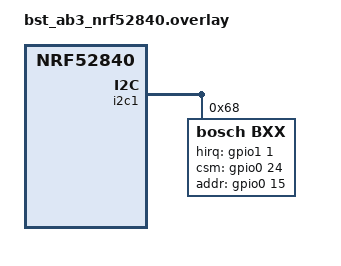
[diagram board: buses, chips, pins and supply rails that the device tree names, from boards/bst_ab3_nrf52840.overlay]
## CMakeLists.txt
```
#
# Copyright (c) 2022 Bosch Sensortec GmbH
#
# SPDX-License-Identifier: Apache-2.0
#

cmake_minimum_required(VERSION 3.20.0)
find_package(Zephyr HINTS $ENV{ZEPHYR_BASE})
project(bxx_sample)

FILE(GLOB app_sources src/*.c)
target_sources(app PRIVATE ${app_sources})
```

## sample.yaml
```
sample:
  name: BXX Sensor sample
tests:
  sample.sensor.bxx:
    harness: sensor
    tags: samples sensor
```

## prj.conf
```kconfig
#SPI or I2C are required by BXX driver
#TIP: If BXX driver uses I2C or SPI exclusively,
#the other module can be removed
CONFIG_GPIO=y
CONFIG_SPI=y
CONFIG_I2C=y
#enable the Sensor API for BXX driver (and any others activated in the DTS)
CONFIG_SENSOR=y

# Config USB UART console
CONFIG_PRINTK=y
CONFIG_CONSOLE=y
CONFIG_SERIAL=y
CONFIG_STDOUT_CONSOLE=y
CONFIG_USB_DEVICE_STACK=y
CONFIG_USB_CDC_ACM=y
CONFIG_UART_ASYNC_API=y
CONFIG_UART_CONSOLE=n
#Config RTT Console
CONFIG_RTT_CONSOLE=y
# Config logger
CONFIG_LOG=y
CONFIG_USE_SEGGER_RTT=y
CONFIG_LOG_BACKEND_RTT=y
CONFIG_LOG_BACKEND_UART=n
CONFIG_LOG_MODE_IMMEDIATE=y
```

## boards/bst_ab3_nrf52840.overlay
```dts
/*
 * Copyright (c) 2022 Bosch Sensortec GmbH
 *
 * SPDX-License-Identifier: Apache-2.0
 *
 */

/*TIP:This is the overlay file for BST Application Board 3.0
Create similar overmays for other boards supported by the BXX driver sample
*/

/*TIP:The GPIO pin definitions below correspond to  Application Board 3.0 pins. 
Modify as necessary for other boards. 
*/

/*TIP: uncomment either the SPI or I2C node to use it as the
corresponding BXX primary port
*/

/*TIP:Add any additional parameters that are required for initializing the
BXX device. The parameter needs to be first added to the binding files 
dts/binding/bosch,bxx-*.yaml
*/

/*TIP: I2C node address bxx@68 and reg value <0x68>> should correspond to specified
I2C address of BXX device, and to address selector setting (refer comments in
addr-ggpios and addr-state below). 0x68/0x69 corresponds to BMI270, which is used
as an example in this template.
*/


&i2c1 {
	compatible = "nordic,nrf-twi";
	status = "okay";
	bxx_dev: bxx@68 {
		compatible = "bosch,bxx";
		label = "bxx";
		status = "okay";
		reg = <0x68>;		

		//interrupt pin
		hirq-gpios = < &gpio1 1 GPIO_ACTIVE_HIGH >;

		//Chip Select pin is used as i2c/spi mode selector on most BST devices. On 
      	//some boards, it is directly wired to VDD to force i2c mode permanently. 
      	//If wired to a GPIO, it should be specified here. csm_gpios will be pulled 
      	//up at driver init if BXX device driver is on an i2c node in DTS 
		csm-gpios   = <&gpio0 24 GPIO_ACTIVE_HIGH>;
		
		//SDO pin on most BST devices has a dual use as address selector in I2C mode,
        //to select one of two I2C addresses. It may be hard-wired to VDD/Gnd on 
        //some boards. In case it is wired to a GPIO, it can be specified here, and
        //its desired state can be specified using addr-state. The i2c address specified
        //in the DTS should correspond to the specified state.
		addr-gpios = <&gpio0 15 GPIO_ACTIVE_HIGH>;
		
		//Desired state of address selector pin addr-gpios, 0 or 1. I2C address should
        //correspond to this value
		addr-state = <0>;
	};
};


/*
&spi2 {
	compatible = "nordic,nrf-spim";
	status = "okay";
	cs-gpios   = <&gpio0 24 GPIO_ACTIVE_HIGH>;
	bxx_dev: bxx@0 {
		compatible = "bosch,bxx";
		reg = <0>;
		spi-max-frequency = <8000000>;
		label = "bxx";
		status = "okay";
		hirq-gpios = < &gpio1 1 GPIO_ACTIVE_HIGH >;
	};
	//remove dummy shuttle SPI driver defined in AB3 DTS for COINES support
	//It is only required when the shuttle device is not known in advance
	//In this case, the device is known 
	/delete-node/  bmxx_spi@0;
};
*/
```

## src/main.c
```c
/*
 * Copyright (c) 2022 Bosch Sensortec GmbH
 *
 * SPDX-License-Identifier: Apache-2.0
 */

#include <zephyr/zephyr.h>
#include <zephyr/device.h>
#include <zephyr/drivers/sensor.h>
#include <stdio.h>

/*TIP: Modify sample code to demonstrate use of BXX driver. The below
example code is a small extract from the BI270 sample. Modify as needed
*/
void dr_trigger_handler(const struct device *dev,
					 const struct sensor_trigger *trigger);
void main(void)
{
	const struct device *dev = DEVICE_DT_GET(DT_NODELABEL(bxx_dev));
	struct sensor_value value_XYX[3];
	struct sensor_value full_scale; 
	struct sensor_trigger dr_trig ={
		.chan =SENSOR_CHAN_ACCEL_XYZ,
		.type=	SENSOR_TRIG_DATA_READY,
	};
	if (dev == NULL) {
		printf("Device not found\n");
		return;
	}
	if (!device_is_ready(dev)) {
		printf("Device %s is not ready\n", dev->name);
		return;
	}

	printf("Device %p name is %s\n", dev, dev->name);
	/* Setting scale in G, due to loss of precision if the SI unit m/s^2 is used*/
	full_scale.val1 = 2;            /* G */
	full_scale.val2 = 0;

	sensor_attr_set(dev, SENSOR_CHAN_ACCEL_XYZ, SENSOR_ATTR_FULL_SCALE,
			&full_scale);
	/*set callback hander for data ready*/
	sensor_trigger_set(dev,&dr_trig,dr_trigger_handler);
	while (1) {
		/* 10ms period, 100Hz Sampling frequency */
		//k_sleep(K_MSEC(10));
		k_sleep(K_MSEC(1000));

		sensor_sample_fetch(dev);
		sensor_channel_get(dev, SENSOR_CHAN_ACCEL_XYZ, value_XYX);

		printf("Value XYZ X: %d.%06d; Y: %d.%06d; Z: %d.%06d;\n",
			value_XYX[0].val1, value_XYX[0].val2,
			value_XYX[1].val1, value_XYX[1].val2,
			value_XYX[2].val1, value_XYX[2].val2);
	}
}

/*callback in case of data ready interrupt from device*/

/*TIP: The below function will not get called if the bare template is
compiled and run, because the device-specific interrupt configuration
code is not implemented in the template (see the TIP inside bxx_init_interrupt()
in bxx.c ). The device interrupt configuration for the specific BXX device 
has to be properly implemented to see this feature working.*/

void dr_trigger_handler(const struct device *dev,
					 const struct sensor_trigger *trigger)
{
	/*TIP: Do something meaningful here*/
	printf("Data Ready!\n");
}
```
